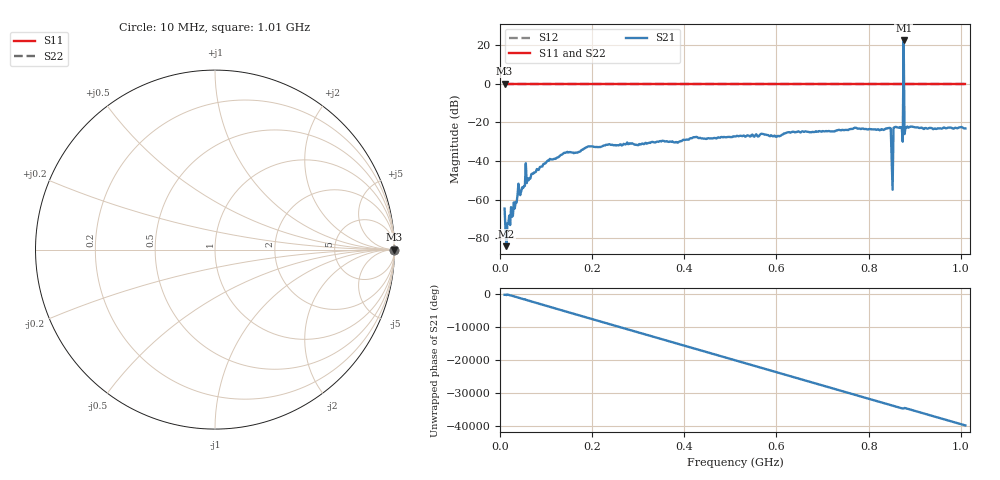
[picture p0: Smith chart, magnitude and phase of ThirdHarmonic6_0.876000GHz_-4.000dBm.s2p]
! 8/16/2025 4:52:40 AM
! C:\ANRITSUVNA\TEMP\TEMP.S2P
! CHANNEL.1
! TR.MEASUREMENT
! RAW.DATA
! RF.CORRECTION.OFF
! AVERAGING.OFF
! IF.BANDWIDTH: 5KHZ
! SWEEPTYPE:  FREQ.SWEEP(Linear)
! Reference Plane Port Info
! PORT:  PORT1  PORT2
! DISTANCE:  0  m  0  m
! TIME:  0  s  0  s
! PHASE.OFFSET:  0  deg.  0  deg.
! LOSS:  0  dB  0  dB
! REF.LOSS:  0  dB  0  dB
! REF.FREQ:  0  Hz  0  Hz
! Power Info
! POWER:  -20  dBm  -20  dBm
! EFF.POWER:  -20  dBm  -20  dBm
! SOURCE.ATTEN:  0  dB  0  dB
! TEST.ATTEN:  0  dB  0  dB
# GHZ S RI R 50.0
! FREQ.GHZ  S11RE  S11IM  S21RE  S21IM  S12RE  S12IM  S22RE  S22IM
!; PortSelection: Port_12
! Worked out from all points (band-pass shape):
!   501 points, 10 MHz to 1.01 GHz, reference 50 ohm
!   highest |S21| = 22.33 dB at 876 MHz (marker M1); lowest = -84.1 dB at 14 MHz (marker M2)
!   |S21| within 3 dB of the highest: 875.8854 MHz to 876.1239 MHz (238.5 kHz wide, 0.0272 % of centre)
!   lowest |S11| = 0.0 dB at 10 MHz (marker M3)
!   |S11| at or under -10 dB: nowhere
!   |S22| runs from 0.0 to 0.0 dB; largest |S21 - S12| = 12
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0.01  1 0  -0.000584 -5.35e-05  1 0  1 0
0.014  1 0  -7.1e-06 6.22e-05  1 0  1 0
0.018  1 0  -0.000236 5.16e-05  1 0  1 0
0.02  1 0  -0.0001 0.000372  1 0  1 0
0.038  1 0  -0.000859 0.000955  1 0  1 0
0.06  1 0  0.00172 -0.00315  1 0  1 0
0.062  1 0  -0.00245 -0.00198  1 0  1 0
0.106  1 0  -0.00732 -0.00702  1 0  1 0
0.178  1 0  -0.0189 -0.00442  1 0  1 0
0.344  1 0  0.031 -0.00484  1 0  1 0
0.51  1 0  -0.0415 0.0116  1 0  1 0
0.678  1 0  -0.0176 -0.0537  1 0  1 0
0.844  1 0  0.0422 0.0574  1 0  1 0
0.848  1 0  -0.0227 -0.066  1 0  1 0
0.854  1 0  0.0702 0.0131  1 0  1 0
0.858  1 0  -0.0673 -0.0352  1 0  1 0
0.87  1 0  0.00855 0.0716  1 0  1 0
0.872  1 0  0.0737 0.00445  1 0  1 0
0.876  1 0  11.59 -6.035  1 0  1 0
0.88  1 0  0.0573 0.0449  1 0  1 0
0.882  1 0  0.0567 -0.0473  1 0  1 0
1.01  1 0  -0.0628 -0.0294  1 0  1 0
